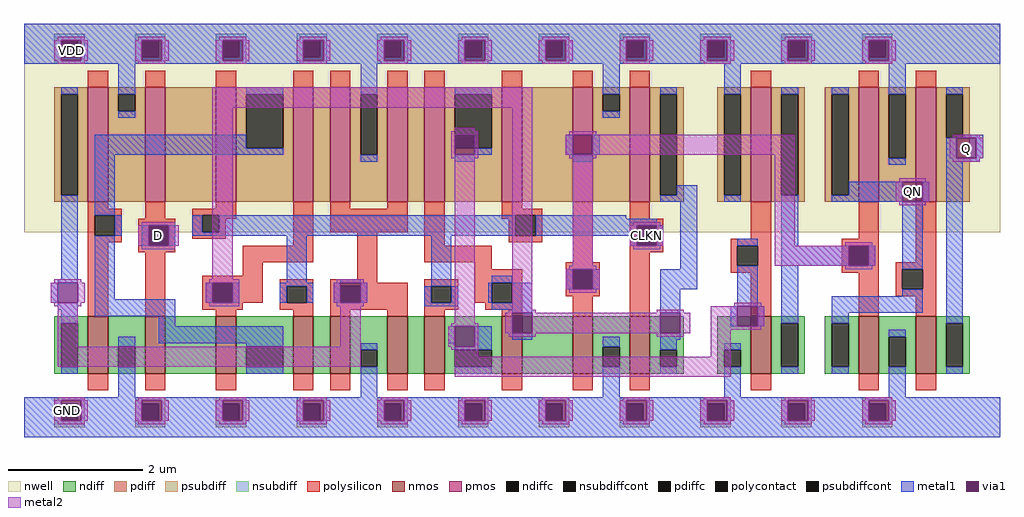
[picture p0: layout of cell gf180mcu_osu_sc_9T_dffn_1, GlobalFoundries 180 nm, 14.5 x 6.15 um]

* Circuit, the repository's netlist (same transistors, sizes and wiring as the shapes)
.option scale=0.05u

.subckt gf180mcu_osu_sc_9T_dffn_1 D Q QN CLKN
X0 a_42_70 D VDD VDD pmos_3p3 w=34 l=6
X1 a_125_19 a_53_38 a_114_70 VDD pmos_3p3 w=34 l=6
X2 a_86_70 a_53_38 a_19_14 VDD pmos_3p3 w=34 l=6
X3 VDD a_161_42 a_148_70 VDD pmos_3p3 w=34 l=6
X4 GND a_9_19 a_86_19 GND nmos_3p3 w=17 l=6
X5 a_19_14 a_53_38 a_42_19 GND nmos_3p3 w=17 l=6
X6 GND a_161_42 QN GND nmos_3p3 w=17 l=6
X7 VDD a_9_19 a_86_70 VDD pmos_3p3 w=34 l=6
X8 a_19_14 CLKN a_42_70 VDD pmos_3p3 w=34 l=6
X9 VDD a_161_42 QN VDD pmos_3p3 w=34 l=6
X10 GND a_19_14 a_9_19 GND nmos_3p3 w=17 l=6
X11 a_53_38 CLKN GND GND nmos_3p3 w=17 l=6
X12 VDD a_19_14 a_9_19 VDD pmos_3p3 w=34 l=6
X13 a_53_38 CLKN VDD VDD pmos_3p3 w=34 l=6
X14 a_148_19 a_53_38 a_125_19 GND nmos_3p3 w=17 l=6
X15 Q QN GND GND nmos_3p3 w=17 l=6
X16 a_114_19 a_9_19 GND GND nmos_3p3 w=17 l=6
X17 a_161_42 a_125_19 GND GND nmos_3p3 w=17 l=6
X18 a_148_70 CLKN a_125_19 VDD pmos_3p3 w=34 l=6
X19 Q QN VDD VDD pmos_3p3 w=34 l=6
X20 a_114_70 a_9_19 VDD VDD pmos_3p3 w=34 l=6
X21 a_161_42 a_125_19 VDD VDD pmos_3p3 w=34 l=6
X22 a_42_19 D GND GND nmos_3p3 w=17 l=6
X23 a_125_19 CLKN a_114_19 GND nmos_3p3 w=17 l=6
X24 a_86_19 CLKN a_19_14 GND nmos_3p3 w=17 l=6
X25 GND a_161_42 a_148_19 GND nmos_3p3 w=17 l=6
.ends

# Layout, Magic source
magic
tech gf180mcuC
<< nwell >>
rect 0 61 290 123
<< nmos >>
rect 19 19 25 36
rect 36 19 42 36
rect 57 19 63 36
rect 80 19 86 36
rect 91 19 97 36
rect 108 19 114 36
rect 119 19 125 36
rect 142 19 148 36
rect 163 19 169 36
rect 180 19 186 36
rect 216 19 222 36
rect 248 19 254 36
rect 265 19 271 36
<< pmos >>
rect 19 70 25 104
rect 36 70 42 104
rect 57 70 63 104
rect 80 70 86 104
rect 91 70 97 104
rect 108 70 114 104
rect 119 70 125 104
rect 142 70 148 104
rect 163 70 169 104
rect 180 70 186 104
rect 216 70 222 104
rect 248 70 254 104
rect 265 70 271 104
<< ndiff >>
rect 9 34 19 36
rect 9 21 11 34
rect 16 21 19 34
rect 9 19 19 21
rect 25 27 36 36
rect 25 21 28 27
rect 33 21 36 27
rect 25 19 36 21
rect 42 19 57 36
rect 63 27 80 36
rect 63 21 66 27
rect 77 21 80 27
rect 63 19 80 21
rect 86 19 91 36
rect 97 26 108 36
rect 97 21 100 26
rect 105 21 108 26
rect 97 19 108 21
rect 114 19 119 36
rect 125 26 142 36
rect 125 21 128 26
rect 139 21 142 26
rect 125 19 142 21
rect 148 19 163 36
rect 169 27 180 36
rect 169 21 172 27
rect 177 21 180 27
rect 169 19 180 21
rect 186 26 196 36
rect 186 21 189 26
rect 194 21 196 26
rect 186 19 196 21
rect 206 26 216 36
rect 206 21 208 26
rect 213 21 216 26
rect 206 19 216 21
rect 222 34 232 36
rect 222 21 225 34
rect 230 21 232 34
rect 222 19 232 21
rect 238 34 248 36
rect 238 21 240 34
rect 245 21 248 34
rect 238 19 248 21
rect 254 30 265 36
rect 254 21 257 30
rect 262 21 265 30
rect 254 19 265 21
rect 271 34 281 36
rect 271 21 274 34
rect 279 21 281 34
rect 271 19 281 21
<< pdiff >>
rect 9 102 19 104
rect 9 72 11 102
rect 16 72 19 102
rect 9 70 19 72
rect 25 102 36 104
rect 25 97 28 102
rect 33 97 36 102
rect 25 70 36 97
rect 42 70 57 104
rect 63 102 80 104
rect 63 86 66 102
rect 77 86 80 102
rect 63 70 80 86
rect 86 70 91 104
rect 97 102 108 104
rect 97 84 100 102
rect 105 84 108 102
rect 97 70 108 84
rect 114 70 119 104
rect 125 102 142 104
rect 125 86 128 102
rect 139 86 142 102
rect 125 70 142 86
rect 148 70 163 104
rect 169 102 180 104
rect 169 97 172 102
rect 177 97 180 102
rect 169 70 180 97
rect 186 102 196 104
rect 186 72 189 102
rect 194 72 196 102
rect 186 70 196 72
rect 206 102 216 104
rect 206 72 208 102
rect 213 72 216 102
rect 206 70 216 72
rect 222 102 232 104
rect 222 72 225 102
rect 230 72 232 102
rect 222 70 232 72
rect 238 102 248 104
rect 238 72 240 102
rect 245 72 248 102
rect 238 70 248 72
rect 254 102 265 104
rect 254 83 257 102
rect 262 83 265 102
rect 254 70 265 83
rect 271 102 281 104
rect 271 89 274 102
rect 279 89 281 102
rect 271 70 281 89
<< ndiffc >>
rect 11 21 16 34
rect 28 21 33 27
rect 66 21 77 27
rect 100 21 105 26
rect 128 21 139 26
rect 172 21 177 27
rect 189 21 194 26
rect 208 21 213 26
rect 225 21 230 34
rect 240 21 245 34
rect 257 21 262 30
rect 274 21 279 34
<< pdiffc >>
rect 11 72 16 102
rect 28 97 33 102
rect 66 86 77 102
rect 100 84 105 102
rect 128 86 139 102
rect 172 97 177 102
rect 189 72 194 102
rect 208 72 213 102
rect 225 72 230 102
rect 240 72 245 102
rect 257 83 262 102
rect 274 89 279 102
<< psubdiff >>
rect 9 10 18 12
rect 9 5 11 10
rect 16 5 18 10
rect 9 3 18 5
rect 33 10 42 12
rect 33 5 35 10
rect 40 5 42 10
rect 33 3 42 5
rect 57 10 66 12
rect 57 5 59 10
rect 64 5 66 10
rect 57 3 66 5
rect 81 10 90 12
rect 81 5 83 10
rect 88 5 90 10
rect 81 3 90 5
rect 105 10 114 12
rect 105 5 107 10
rect 112 5 114 10
rect 105 3 114 5
rect 129 10 138 12
rect 129 5 131 10
rect 136 5 138 10
rect 129 3 138 5
rect 153 10 162 12
rect 153 5 155 10
rect 160 5 162 10
rect 153 3 162 5
rect 177 10 186 12
rect 177 5 179 10
rect 184 5 186 10
rect 177 3 186 5
rect 201 10 210 12
rect 201 5 203 10
rect 208 5 210 10
rect 201 3 210 5
rect 225 10 234 12
rect 225 5 227 10
rect 232 5 234 10
rect 225 3 234 5
rect 249 10 258 12
rect 249 5 251 10
rect 256 5 258 10
rect 249 3 258 5
<< nsubdiff >>
rect 9 118 18 120
rect 9 113 11 118
rect 16 113 18 118
rect 9 111 18 113
rect 33 118 42 120
rect 33 113 35 118
rect 40 113 42 118
rect 33 111 42 113
rect 57 118 66 120
rect 57 113 59 118
rect 64 113 66 118
rect 57 111 66 113
rect 81 118 90 120
rect 81 113 83 118
rect 88 113 90 118
rect 81 111 90 113
rect 105 118 114 120
rect 105 113 107 118
rect 112 113 114 118
rect 105 111 114 113
rect 129 118 138 120
rect 129 113 131 118
rect 136 113 138 118
rect 129 111 138 113
rect 153 118 162 120
rect 153 113 155 118
rect 160 113 162 118
rect 153 111 162 113
rect 177 118 186 120
rect 177 113 179 118
rect 184 113 186 118
rect 177 111 186 113
rect 201 118 210 120
rect 201 113 203 118
rect 208 113 210 118
rect 201 111 210 113
rect 225 118 234 120
rect 225 113 227 118
rect 232 113 234 118
rect 225 111 234 113
rect 249 118 258 120
rect 249 113 251 118
rect 256 113 258 118
rect 249 111 258 113
<< psubdiffcont >>
rect 11 5 16 10
rect 35 5 40 10
rect 59 5 64 10
rect 83 5 88 10
rect 107 5 112 10
rect 131 5 136 10
rect 155 5 160 10
rect 179 5 184 10
rect 203 5 208 10
rect 227 5 232 10
rect 251 5 256 10
<< nsubdiffcont >>
rect 11 113 16 118
rect 35 113 40 118
rect 59 113 64 118
rect 83 113 88 118
rect 107 113 112 118
rect 131 113 136 118
rect 155 113 160 118
rect 179 113 184 118
rect 203 113 208 118
rect 227 113 232 118
rect 251 113 256 118
<< polysilicon >>
rect 19 104 25 109
rect 36 104 42 109
rect 57 104 63 109
rect 80 104 86 109
rect 91 104 97 109
rect 108 104 114 109
rect 119 104 125 109
rect 142 104 148 109
rect 163 104 169 109
rect 180 104 186 109
rect 216 104 222 109
rect 248 104 254 109
rect 265 104 271 109
rect 19 68 25 70
rect 19 66 29 68
rect 19 60 21 66
rect 27 60 29 66
rect 36 65 42 70
rect 57 68 63 70
rect 50 66 63 68
rect 19 58 29 60
rect 34 63 45 65
rect 19 36 25 58
rect 34 57 37 63
rect 43 57 45 63
rect 50 61 53 66
rect 58 65 63 66
rect 58 61 60 65
rect 50 59 60 61
rect 80 57 86 70
rect 91 68 97 70
rect 108 68 114 70
rect 91 61 114 68
rect 34 55 45 57
rect 36 36 42 55
rect 65 52 86 57
rect 65 48 71 52
rect 53 46 71 48
rect 99 47 105 61
rect 119 57 125 70
rect 142 68 148 70
rect 142 66 154 68
rect 142 65 146 66
rect 144 60 146 65
rect 152 60 154 66
rect 144 58 154 60
rect 119 52 139 57
rect 163 52 169 70
rect 180 65 186 70
rect 180 63 190 65
rect 180 57 182 63
rect 188 57 190 63
rect 216 59 222 70
rect 248 59 254 70
rect 180 55 190 57
rect 210 57 222 59
rect 134 50 139 52
rect 161 50 171 52
rect 53 40 56 46
rect 62 40 71 46
rect 76 45 86 47
rect 76 40 78 45
rect 84 40 86 45
rect 53 38 65 40
rect 76 38 86 40
rect 57 36 63 38
rect 80 36 86 38
rect 91 46 105 47
rect 91 45 114 46
rect 91 40 94 45
rect 100 40 114 45
rect 91 38 114 40
rect 91 36 97 38
rect 108 36 114 38
rect 119 45 129 47
rect 119 40 121 45
rect 127 40 129 45
rect 134 46 148 50
rect 134 40 139 46
rect 145 40 148 46
rect 161 44 163 50
rect 169 44 171 50
rect 161 42 171 44
rect 119 38 129 40
rect 137 38 148 40
rect 119 36 125 38
rect 142 36 148 38
rect 163 36 169 42
rect 180 36 186 55
rect 210 51 212 57
rect 218 51 222 57
rect 210 49 222 51
rect 243 57 254 59
rect 243 51 245 57
rect 251 51 254 57
rect 265 52 271 70
rect 243 49 254 51
rect 216 36 222 49
rect 248 36 254 49
rect 259 50 271 52
rect 259 44 261 50
rect 267 44 271 50
rect 259 42 271 44
rect 265 36 271 42
rect 19 14 25 19
rect 36 14 42 19
rect 57 14 63 19
rect 80 14 86 19
rect 91 14 97 19
rect 108 14 114 19
rect 119 14 125 19
rect 142 14 148 19
rect 163 14 169 19
rect 180 14 186 19
rect 216 14 222 19
rect 248 14 254 19
rect 265 14 271 19
<< polycontact >>
rect 21 60 27 66
rect 37 57 43 63
rect 53 61 58 66
rect 146 60 152 66
rect 182 57 188 63
rect 56 40 62 46
rect 78 40 84 45
rect 94 40 100 45
rect 121 40 127 45
rect 139 40 145 46
rect 163 44 169 50
rect 212 51 218 57
rect 245 51 251 57
rect 261 44 267 50
<< metal1 >>
rect 0 118 290 123
rect 0 112 11 118
rect 17 112 35 118
rect 41 112 59 118
rect 65 112 83 118
rect 89 112 107 118
rect 113 112 131 118
rect 137 112 155 118
rect 161 112 179 118
rect 185 112 203 118
rect 209 112 227 118
rect 233 112 251 118
rect 257 112 290 118
rect 0 111 290 112
rect 11 102 16 104
rect 28 102 33 111
rect 28 95 33 97
rect 66 102 77 104
rect 11 47 16 72
rect 10 46 16 47
rect 8 40 10 46
rect 10 38 16 40
rect 11 34 16 38
rect 21 86 66 90
rect 21 84 77 86
rect 100 102 105 111
rect 21 66 27 84
rect 100 82 105 84
rect 128 102 139 104
rect 172 102 177 111
rect 172 95 177 97
rect 189 102 194 104
rect 134 84 139 86
rect 161 84 163 90
rect 169 84 171 90
rect 128 82 134 84
rect 163 82 169 84
rect 208 102 213 111
rect 194 72 200 75
rect 189 70 200 72
rect 208 70 213 72
rect 225 102 230 104
rect 27 60 29 66
rect 21 41 27 60
rect 35 57 37 63
rect 43 57 45 63
rect 50 61 53 66
rect 58 61 146 66
rect 50 60 146 61
rect 152 65 179 66
rect 152 63 188 65
rect 152 60 182 63
rect 78 46 84 60
rect 94 46 100 47
rect 21 36 45 41
rect 54 40 56 46
rect 62 40 64 46
rect 76 45 86 46
rect 76 40 78 45
rect 84 40 86 45
rect 92 40 94 46
rect 100 40 102 46
rect 121 45 127 60
rect 180 57 182 60
rect 188 57 190 63
rect 195 50 200 70
rect 139 46 145 48
rect 119 40 121 45
rect 127 40 129 45
rect 138 40 139 46
rect 145 40 151 46
rect 161 44 163 50
rect 169 44 171 50
rect 189 44 200 50
rect 212 57 218 59
rect 119 39 129 40
rect 139 38 151 40
rect 40 33 45 36
rect 145 37 151 38
rect 11 19 16 21
rect 28 27 33 30
rect 40 28 77 33
rect 126 28 128 33
rect 28 12 33 21
rect 66 27 77 28
rect 66 19 77 21
rect 100 26 105 28
rect 100 12 105 21
rect 134 27 139 33
rect 145 29 151 31
rect 189 37 195 44
rect 212 39 218 51
rect 225 57 230 72
rect 240 102 245 104
rect 257 102 262 111
rect 257 81 262 83
rect 274 102 279 104
rect 279 89 285 90
rect 274 83 277 89
rect 283 83 285 89
rect 274 82 284 83
rect 245 72 261 76
rect 240 70 261 72
rect 267 70 269 76
rect 225 51 245 57
rect 251 51 253 57
rect 210 33 212 39
rect 218 33 220 39
rect 225 34 230 51
rect 261 50 267 70
rect 261 42 267 44
rect 128 26 139 27
rect 128 19 139 21
rect 172 27 177 30
rect 172 12 177 21
rect 189 29 195 31
rect 189 26 194 29
rect 189 19 194 21
rect 208 26 213 28
rect 208 12 213 21
rect 225 19 230 21
rect 240 37 267 42
rect 240 34 245 37
rect 274 34 279 82
rect 240 19 245 21
rect 257 30 262 32
rect 257 12 262 21
rect 274 19 279 21
rect 0 11 290 12
rect 0 5 11 11
rect 17 5 35 11
rect 41 5 59 11
rect 65 5 83 11
rect 89 5 107 11
rect 113 5 131 11
rect 137 5 155 11
rect 161 5 179 11
rect 185 5 203 11
rect 209 5 227 11
rect 233 5 251 11
rect 257 5 290 11
rect 0 0 290 5
<< via1 >>
rect 11 113 16 118
rect 16 113 17 118
rect 11 112 17 113
rect 35 113 40 118
rect 40 113 41 118
rect 35 112 41 113
rect 59 113 64 118
rect 64 113 65 118
rect 59 112 65 113
rect 83 113 88 118
rect 88 113 89 118
rect 83 112 89 113
rect 107 113 112 118
rect 112 113 113 118
rect 107 112 113 113
rect 131 113 136 118
rect 136 113 137 118
rect 131 112 137 113
rect 155 113 160 118
rect 160 113 161 118
rect 155 112 161 113
rect 179 113 184 118
rect 184 113 185 118
rect 179 112 185 113
rect 203 113 208 118
rect 208 113 209 118
rect 203 112 209 113
rect 227 113 232 118
rect 232 113 233 118
rect 227 112 233 113
rect 251 113 256 118
rect 256 113 257 118
rect 251 112 257 113
rect 10 40 16 46
rect 128 86 134 90
rect 128 84 134 86
rect 163 84 169 90
rect 37 57 43 63
rect 56 40 62 46
rect 94 45 100 46
rect 94 40 100 45
rect 182 57 188 63
rect 163 44 169 50
rect 128 27 134 33
rect 145 31 151 37
rect 277 83 283 89
rect 261 70 267 76
rect 245 51 251 57
rect 189 31 195 37
rect 212 33 218 39
rect 11 10 17 11
rect 11 5 16 10
rect 16 5 17 10
rect 35 10 41 11
rect 35 5 40 10
rect 40 5 41 10
rect 59 10 65 11
rect 59 5 64 10
rect 64 5 65 10
rect 83 10 89 11
rect 83 5 88 10
rect 88 5 89 10
rect 107 10 113 11
rect 107 5 112 10
rect 112 5 113 10
rect 131 10 137 11
rect 131 5 136 10
rect 136 5 137 10
rect 155 10 161 11
rect 155 5 160 10
rect 160 5 161 10
rect 179 10 185 11
rect 179 5 184 10
rect 184 5 185 10
rect 203 10 209 11
rect 203 5 208 10
rect 208 5 209 10
rect 227 10 233 11
rect 227 5 232 10
rect 232 5 233 10
rect 251 10 257 11
rect 251 5 256 10
rect 256 5 257 10
<< metal2 >>
rect 10 118 18 119
rect 34 118 42 119
rect 58 118 66 119
rect 82 118 90 119
rect 106 118 114 119
rect 130 118 138 119
rect 154 118 162 119
rect 178 118 186 119
rect 202 118 210 119
rect 226 118 234 119
rect 250 118 258 119
rect 9 112 11 118
rect 17 112 19 118
rect 33 112 35 118
rect 41 112 43 118
rect 57 112 59 118
rect 65 112 67 118
rect 81 112 83 118
rect 89 112 91 118
rect 105 112 107 118
rect 113 112 115 118
rect 129 112 131 118
rect 137 112 139 118
rect 153 112 155 118
rect 161 112 163 118
rect 177 112 179 118
rect 185 112 187 118
rect 201 112 203 118
rect 209 112 211 118
rect 225 112 227 118
rect 233 112 235 118
rect 249 112 251 118
rect 257 112 259 118
rect 10 111 18 112
rect 34 111 42 112
rect 58 111 66 112
rect 82 111 90 112
rect 106 111 114 112
rect 130 111 138 112
rect 154 111 162 112
rect 178 111 186 112
rect 202 111 210 112
rect 226 111 234 112
rect 250 111 258 112
rect 56 98 151 104
rect 35 63 45 64
rect 34 57 37 63
rect 43 57 46 63
rect 35 56 45 57
rect 56 47 62 98
rect 128 91 134 92
rect 127 90 135 91
rect 127 84 128 90
rect 134 84 135 90
rect 127 83 135 84
rect 9 46 17 47
rect 55 46 64 47
rect 93 46 101 47
rect 8 40 10 46
rect 16 40 18 46
rect 54 40 56 46
rect 62 40 64 46
rect 92 40 94 46
rect 100 40 102 46
rect 9 39 17 40
rect 55 39 64 40
rect 93 39 101 40
rect 10 27 16 39
rect 94 27 100 39
rect 128 34 134 83
rect 145 38 151 98
rect 162 90 170 91
rect 161 84 163 90
rect 169 84 229 90
rect 276 89 284 90
rect 162 83 170 84
rect 163 51 169 83
rect 181 63 189 64
rect 180 57 182 63
rect 188 57 190 63
rect 223 57 229 84
rect 275 83 277 89
rect 283 83 285 89
rect 276 82 284 83
rect 260 76 268 77
rect 259 70 261 76
rect 267 70 269 76
rect 260 69 268 70
rect 244 57 252 58
rect 181 56 189 57
rect 223 51 245 57
rect 251 51 253 57
rect 162 50 170 51
rect 244 50 252 51
rect 161 44 163 50
rect 169 44 171 50
rect 162 43 170 44
rect 211 39 219 40
rect 144 37 152 38
rect 188 37 196 38
rect 127 33 135 34
rect 126 27 128 33
rect 134 27 135 33
rect 143 31 145 37
rect 151 31 189 37
rect 195 31 198 37
rect 204 33 212 39
rect 218 33 220 39
rect 204 32 219 33
rect 144 30 152 31
rect 188 30 196 31
rect 10 21 100 27
rect 127 26 135 27
rect 128 24 135 26
rect 204 24 210 32
rect 128 18 210 24
rect 10 11 18 12
rect 34 11 42 12
rect 58 11 66 12
rect 82 11 90 12
rect 106 11 114 12
rect 130 11 138 12
rect 154 11 162 12
rect 178 11 186 12
rect 202 11 210 12
rect 226 11 234 12
rect 250 11 258 12
rect 9 5 11 11
rect 17 5 19 11
rect 33 5 35 11
rect 41 5 43 11
rect 57 5 59 11
rect 65 5 67 11
rect 81 5 83 11
rect 89 5 91 11
rect 105 5 107 11
rect 113 5 115 11
rect 129 5 131 11
rect 137 5 139 11
rect 153 5 155 11
rect 161 5 163 11
rect 177 5 179 11
rect 185 5 187 11
rect 201 5 203 11
rect 209 5 211 11
rect 225 5 227 11
rect 233 5 235 11
rect 249 5 251 11
rect 257 5 259 11
rect 10 4 18 5
rect 34 4 42 5
rect 58 4 66 5
rect 82 4 90 5
rect 106 4 114 5
rect 130 4 138 5
rect 154 4 162 5
rect 178 4 186 5
rect 202 4 210 5
rect 226 4 234 5
rect 250 4 258 5
<< labels >>
rlabel metal2 14 115 14 115 1 VDD
rlabel metal2 13 8 13 8 1 GND
rlabel metal2 40 60 40 60 1 D
port 1 n
rlabel metal2 280 86 280 86 1 Q
port 4 n
rlabel metal2 264 73 264 73 1 QN
port 5 n
rlabel metal2 185 60 185 60 1 CLKN
port 6 n
<< end >>
